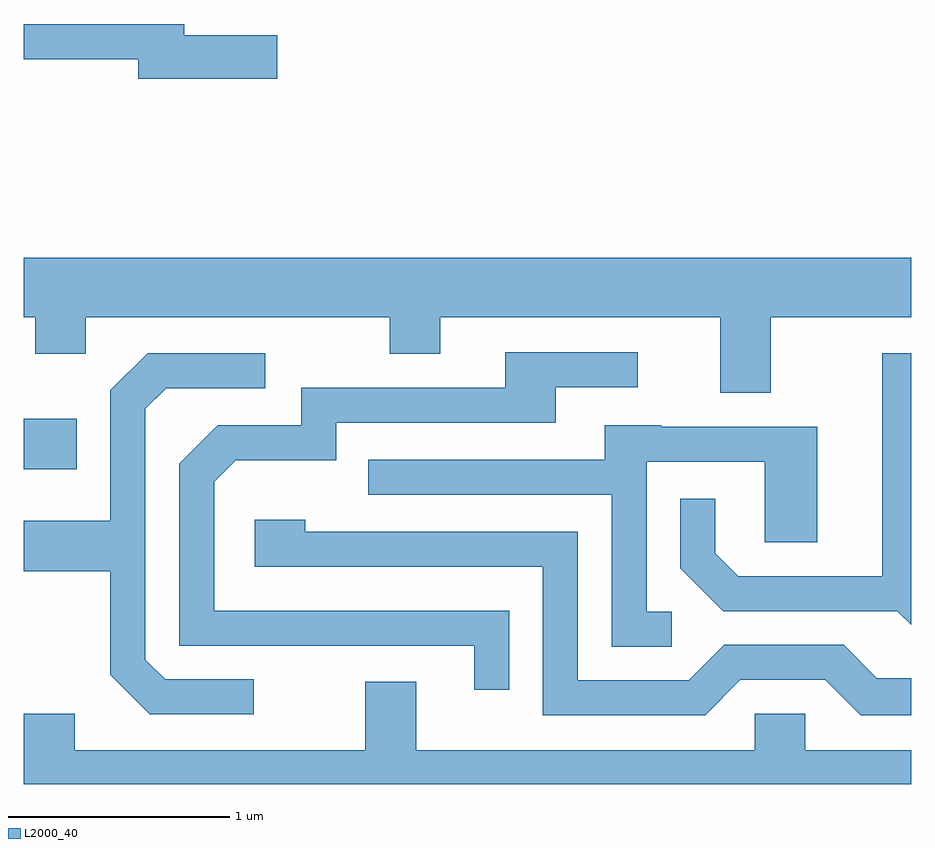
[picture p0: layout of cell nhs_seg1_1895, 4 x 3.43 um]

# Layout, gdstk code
import gdstk
lib = gdstk.Library(unit=1e-6, precision=1e-09)
def R(c, l, rs):  # rectangles x0, y0, x1, y1
    for r in rs: c.add(gdstk.rectangle(r[:2], r[2:], *l))
def P(c, l, *ps):  # polygons
    for p in ps: c.add(gdstk.Polygon(p, *l))
L2000_40 = (2000, 40)

nhs_seg1_1895 = lib.new_cell('nhs_seg1_1895')
R(nhs_seg1_1895, L2000_40, [(243.611,881.131,243.849,881.359)])
P(nhs_seg1_1895, L2000_40, [(244.754,883.089),(244.334,883.089),(244.334,883.139),(243.611,883.139),(243.611,882.981),(244.126,882.981),(244.126,882.891),(244.754,882.891)],
  [(243.611,881.816),(243.661,881.816),(243.661,881.651),(243.889,881.651),(243.889,881.816),(245.261,881.816),(245.261,881.651),(245.489,881.651),(245.489,881.816),(246.751,881.816),(246.751,881.476),(246.979,881.476),(246.979,881.816),(247.611,881.816),(247.611,882.084),(243.611,882.084)],
  [(245.799,880.494),(244.469,880.494),(244.469,881.074),(244.567,881.171),(245.019,881.171),(245.019,881.341),(246.009,881.341),(246.009,881.501),(246.378,881.501),(246.378,881.659),(245.781,881.659),(245.781,881.499),(244.861,881.499),(244.861,881.329),(244.484,881.329),(244.311,881.157),(244.311,880.336),(245.641,880.336),(245.641,880.138),(245.799,880.138)],
  [(244.648,880.184),(244.247,880.184),(244.159,880.272),(244.159,881.404),(244.252,881.496),(244.698,881.496),(244.698,881.654),(244.169,881.654),(244.001,881.487),(244.001,880.899),(243.611,880.899),(243.611,880.671),(244.001,880.671),(244.001,880.204),(244.179,880.026),(244.648,880.026)],
  [(247.611,881.654),(247.481,881.654),(247.481,880.649),(246.832,880.649),(246.729,880.752),(246.729,880.998),(246.571,880.998),(246.571,880.684),(246.764,880.491),(247.549,880.491),(247.611,880.429)],
  [(246.533,880.489),(246.419,880.489),(246.419,881.166),(246.951,881.166),(246.951,880.801),(247.189,880.801),(247.189,881.324),(246.485,881.324),(246.485,881.329),(246.231,881.329),(246.231,881.174),(245.163,881.174),(245.163,881.016),(246.261,881.016),(246.261,880.331),(246.533,880.331)],
  [(246.842,880.181),(247.224,880.181),(247.384,880.021),(247.611,880.021),(247.611,880.189),(247.457,880.189),(247.307,880.339),(246.769,880.339),(246.609,880.179),(246.109,880.179),(246.109,880.849),(244.879,880.849),(244.879,880.904),(244.651,880.904),(244.651,880.691),(245.951,880.691),(245.951,880.021),(246.682,880.021)],
  [(247.611,879.864),(247.134,879.864),(247.134,880.029),(246.906,880.029),(246.906,879.864),(245.379,879.864),(245.379,880.174),(245.151,880.174),(245.151,879.864),(243.839,879.864),(243.839,880.029),(243.611,880.029),(243.611,879.712),(247.611,879.712)])

lib.write_gds('nhs_seg1_1895.gds')
